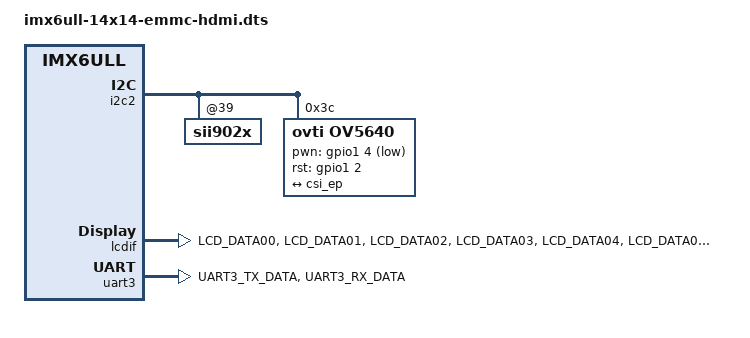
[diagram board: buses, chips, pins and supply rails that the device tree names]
#include "imx6ull-14x14-evk-emmc.dts"

/ {
       sii902x_reset: sii902x-reset {
                status = "okay";
        };
};

&i2c2 {
	sii902x: sii902x@39{
		status = "okay";
	};

        edt-ft5x06@38 {
                status = "disabled";
        };

        goodix_ts@5d {
                status = "disabled";
        };

	ov5640: ov5640@3c {
		compatible = "ovti,ov5640";
		reg = <0x3c>;
		pinctrl-names = "default";
		pinctrl-0 = <&pinctrl_csi1
			    &csi_pwn_rst>;
		clocks = <&clks IMX6UL_CLK_CSI>;
		clock-names = "csi_mclk";
		pwn-gpios = <&gpio1 4 1>;
		rst-gpios = <&gpio1 2 0>;
		csi_id = <0>;
		mclk = <24000000>;
		mclk_source = <0>;
		status = "okay";
		port {
			ov5640_ep: endpoint {
				remote-endpoint = <&csi_ep>;
			};
		};
	};
};

&lcdif {
        pinctrl-0 = <&pinctrl_hdmi_dat
		    &pinctrl_hdmi_ctrl
		    &ts_reset_hdmi_pin>;
};

&iomuxc {
	pinctrl-names = "default";
	pinctrl-0 = <&pinctrl_hog_1_hdmi>;
	imx6ul-evk {
                pinctrl_hdmi_dat: hdmidatgrp {
			/* do not change the pimux vlaue on mini board*/
                        fsl,pins = <
                                MX6UL_PAD_LCD_DATA00__LCDIF_DATA00  0x49
                                MX6UL_PAD_LCD_DATA01__LCDIF_DATA01  0x49
                                MX6UL_PAD_LCD_DATA02__LCDIF_DATA02  0x49
                                MX6UL_PAD_LCD_DATA03__LCDIF_DATA03  0x49
                                MX6UL_PAD_LCD_DATA04__LCDIF_DATA04  0x49
                                MX6UL_PAD_LCD_DATA05__LCDIF_DATA05  0x49
                                MX6UL_PAD_LCD_DATA06__LCDIF_DATA06  0x49
                                MX6UL_PAD_LCD_DATA07__LCDIF_DATA07  0x51
                                MX6UL_PAD_LCD_DATA08__LCDIF_DATA08  0x49
                                MX6UL_PAD_LCD_DATA09__LCDIF_DATA09  0x49
                                MX6UL_PAD_LCD_DATA10__LCDIF_DATA10  0x49
                                MX6UL_PAD_LCD_DATA11__LCDIF_DATA11  0x49
                                MX6UL_PAD_LCD_DATA12__LCDIF_DATA12  0x49
                                MX6UL_PAD_LCD_DATA13__LCDIF_DATA13  0x49
                                MX6UL_PAD_LCD_DATA14__LCDIF_DATA14  0x49
                                MX6UL_PAD_LCD_DATA15__LCDIF_DATA15  0x51
                                MX6UL_PAD_LCD_DATA16__LCDIF_DATA16  0x49
                                MX6UL_PAD_LCD_DATA17__LCDIF_DATA17  0x49
                                MX6UL_PAD_LCD_DATA18__LCDIF_DATA18  0x49
                                MX6UL_PAD_LCD_DATA19__LCDIF_DATA19  0x49
                                MX6UL_PAD_LCD_DATA20__LCDIF_DATA20  0x49
                                MX6UL_PAD_LCD_DATA21__LCDIF_DATA21  0x49
                                MX6UL_PAD_LCD_DATA22__LCDIF_DATA22  0x49
                                MX6UL_PAD_LCD_DATA23__LCDIF_DATA23  0x51
                        >;
                };
		pinctrl_hog_1_hdmi: hoggrp-1-hdmi {
			fsl,pins = <
				MX6UL_PAD_UART1_RTS_B__GPIO1_IO19	0x17059 /* SD1 CD */
				MX6UL_PAD_GPIO1_IO05__USDHC1_VSELECT	0x17059 /* SD1 VSELECT */
				MX6UL_PAD_GPIO1_IO00__GPIO1_IO00	0x13058 /* 风扇 GPIO0 */
			>;
		};

		pinctrl_uart3: uart3grp {
			fsl,pins = <
				MX6UL_PAD_UART3_TX_DATA__UART3_DCE_TX   0x1b0b1
				MX6UL_PAD_UART3_RX_DATA__UART3_DCE_RX   0x1b0b1
			>;
		};

                pinctrl_hdmi_ctrl: hdmictrlgrp {
                        fsl,pins = <
                                MX6UL_PAD_LCD_CLK__LCDIF_CLK        0x49
                                MX6UL_PAD_LCD_ENABLE__LCDIF_ENABLE  0x49
                                MX6UL_PAD_LCD_HSYNC__LCDIF_HSYNC    0x49
                                MX6UL_PAD_LCD_VSYNC__LCDIF_VSYNC    0x49
                        >;
                };

	};
};

&iomuxc_snvs {
	     imx6ul-evk {
                     ts_reset_hdmi_pin: ts_reset_hdmi_mux {
			fsl,pins = <
                                MX6ULL_PAD_SNVS_TAMPER9__GPIO5_IO09 0x49
                        >;
                };
	};

};

&uart3 {
	pinctrl-names = "default";
	pinctrl-0 = <&pinctrl_uart3>;
	status = "okay";
};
